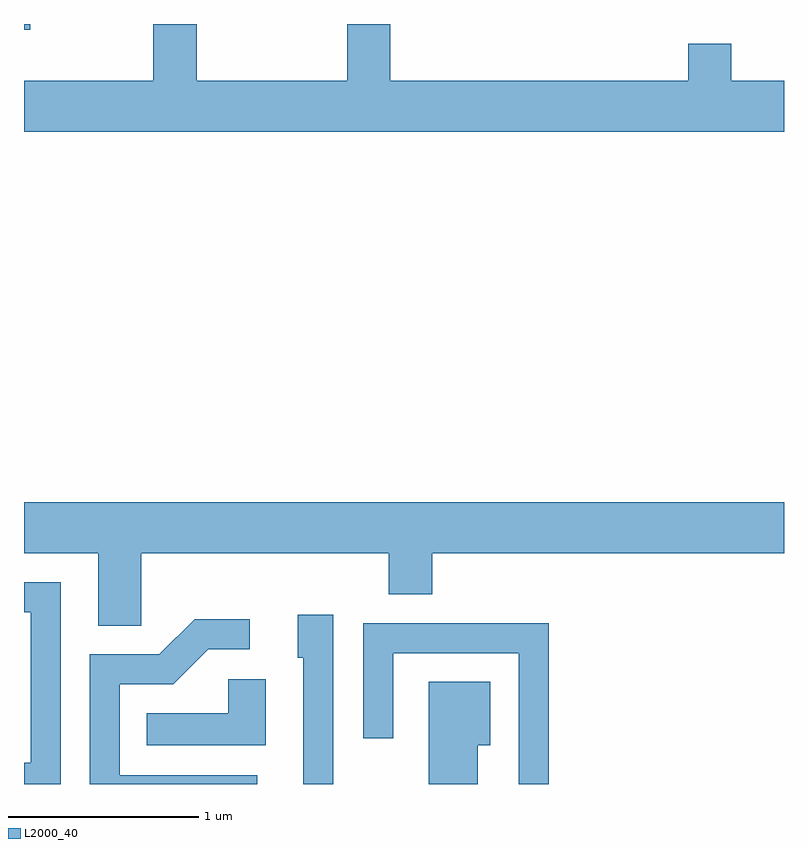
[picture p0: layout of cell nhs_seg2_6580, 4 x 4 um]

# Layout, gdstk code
import gdstk
lib = gdstk.Library(unit=1e-6, precision=1e-09)
def R(c, l, rs):  # rectangles x0, y0, x1, y1
    for r in rs: c.add(gdstk.rectangle(r[:2], r[2:], *l))
def P(c, l, *ps):  # polygons
    for p in ps: c.add(gdstk.Polygon(p, *l))
L2000_40 = (2000, 40)

nhs_seg2_6580 = lib.new_cell('nhs_seg2_6580')
R(nhs_seg2_6580, L2000_40, [(379.611,1017.773,379.644,1017.802)])
P(nhs_seg2_6580, L2000_40, [(383.611,1017.504),(383.334,1017.504),(383.334,1017.699),(383.106,1017.699),(383.106,1017.504),(381.539,1017.504),(381.539,1017.802),(381.311,1017.802),(381.311,1017.504),(380.519,1017.504),(380.519,1017.802),(380.291,1017.802),(380.291,1017.504),(379.611,1017.504),(379.611,1017.236),(383.611,1017.236)],
  [(380.229,1015.016),(381.531,1015.016),(381.531,1014.801),(381.759,1014.801),(381.759,1015.016),(383.611,1015.016),(383.611,1015.284),(379.611,1015.284),(379.611,1015.016),(380.001,1015.016),(380.001,1014.636),(380.229,1014.636)],
  [(379.804,1014.864),(379.611,1014.864),(379.611,1014.706),(379.646,1014.706),(379.646,1013.914),(379.611,1013.914),(379.611,1013.802),(379.804,1013.802)],
  [(381.239,1014.694),(381.051,1014.694),(381.051,1014.466),(381.081,1014.466),(381.081,1013.802),(381.239,1013.802)],
  [(380.838,1013.849),(380.114,1013.849),(380.114,1014.326),(380.397,1014.326),(380.582,1014.511),(380.798,1014.511),(380.798,1014.669),(380.509,1014.669),(380.324,1014.484),(379.956,1014.484),(379.956,1013.802),(380.838,1013.802)],
  [(382.374,1014.649),(381.396,1014.649),(381.396,1014.043),(381.554,1014.043),(381.554,1014.491),(382.216,1014.491),(382.216,1013.802),(382.374,1013.802)],
  [(380.884,1014.354),(380.686,1014.354),(380.686,1014.174),(380.258,1014.174),(380.258,1014.006),(380.884,1014.006)],
  [(381.999,1014.006),(382.064,1014.006),(382.064,1014.339),(381.741,1014.339),(381.741,1013.802),(381.999,1013.802)])

lib.write_gds('nhs_seg2_6580.gds')
